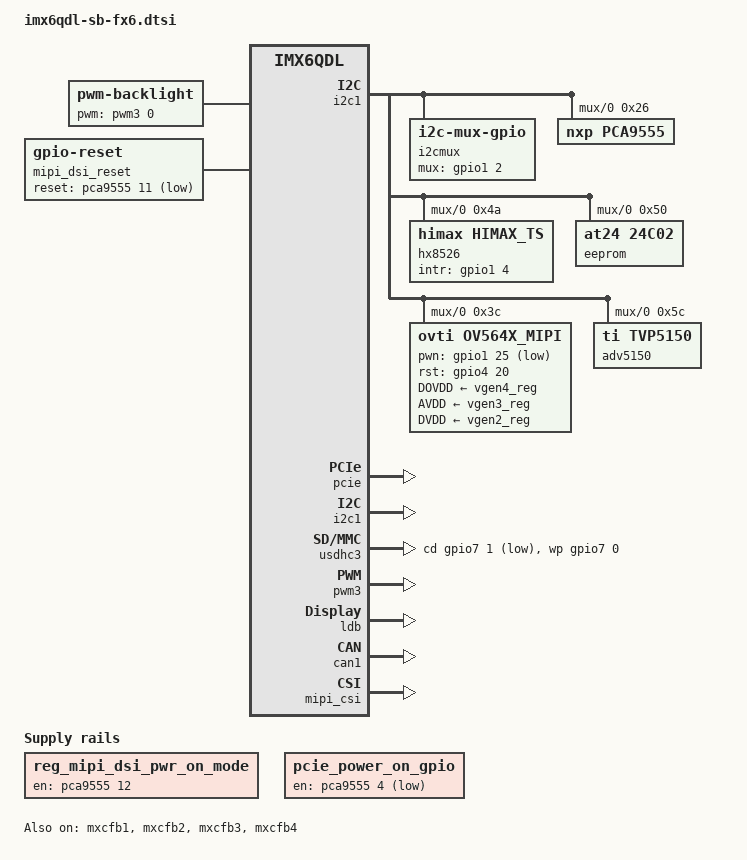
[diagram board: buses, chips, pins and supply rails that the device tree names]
/*
 * Copyright 2014 CompuLab Ltd.
 *
 * Author: Valentin Raevsky <valentin@compulab.co.il>
 *
 * The code contained herein is licensed under the GNU General Public
 * License. You may obtain a copy of the GNU General Public License
 * Version 2 or later at the following locations:
 *
 * http://www.opensource.org/licenses/gpl-license.html
 * http://www.gnu.org/copyleft/gpl.html
 */

#include <dt-bindings/gpio/gpio.h>
#include <dt-bindings/input/input.h>

/ {
	backlight {
		compatible = "pwm-backlight";
		pwms = <&pwm3 0 5000000>;
		brightness-levels = <0 4 8 16 32 64 128 255>;
		default-brightness-level = <7>;
	};

	i2cmux {
		compatible = "i2c-mux-gpio";
		#address-cells = <1>;
		#size-cells = <0>;
		mux-gpios = <&gpio1 2 0>;
		i2c-parent = <&i2c1>;

		i2c@0 {
			reg = <0>;
			#address-cells = <1>;
			#size-cells = <0>;

			pca9555:pca9555@26 {
			      compatible = "nxp,pca9555";
			      gpio-controller;
			      #gpio-cells = <2>;
			      reg = <0x26>;
			};

			hx8526@4a {
			      compatible = "himax,himax_ts";
			      reg = <0x4a>;
			      gpio_intr = <&gpio1 4 0>;
			};

			eeprom@50 {
				compatible = "at24,24c02";
				reg = <0x50>;
				pagesize = <16>;
			};

			ov564x_mipi: ov564x_mipi@3c {
				compatible = "ovti,ov564x_mipi";
				reg = <0x3c>;
				clocks = <&clks IMX6QDL_CLK_CKO>;
				clock-names = "csi_mclk";

				DOVDD-supply = <&vgen4_reg>;
				AVDD-supply = <&vgen3_reg>;
				DVDD-supply = <&vgen2_reg>;

				pwn-gpios = <&gpio1 25 1>;
				rst-gpios = <&gpio4 20 0>;

				csi_id = <0>;
				mclk = <24000000>;
				mclk_source = <0>;
			};

			adv5150: adv5150@5c {
				compatible = "ti,tvp5150";
				reg = <0x5c>;
				pinctrl-names = "default";
				pinctrl-0 = <&pinctrl_ipu1_3>;
				clocks = <&clks 201>;
				clock-names = "csi_mclk";
				csi_id = <0>;
				mclk = <27000000>;
				mclk_source = <0>;
			};
		};

		i2c@1 {
			reg = <1>;
			#address-cells = <1>;
			#size-cells = <0>;

			dvi_edid: edid@50 {
				compatible = "fsl,imx6-dvi-i2c";
				reg = <0x50>;
				status = "disabled";
			};
		};

	};

	reg_mipi_dsi_pwr_on_mode: mipi_dsi_pwr_on_mode {
		compatible = "regulator-fixed";
		regulator-name = "mipi_dsi_pwr_on_mode";
		gpio = <&pca9555 12 0>;
		enable-active-high;
	};

	mipi_dsi_reset: mipi-dsi-reset {
		compatible = "gpio-reset";
		reset-gpios = <&pca9555 11 GPIO_ACTIVE_LOW>;
		reset-delay-us = <100>;
		gpio-can-sleep;
		#reset-cells = <0>;
	};

	vgen2_reg: vgen2 {
		regulator-min-microvolt = <800000>;
		regulator-max-microvolt = <1550000>;
	};

	vgen3_reg: vgen3 {
		regulator-min-microvolt = <1800000>;
		regulator-max-microvolt = <3300000>;
	};

	vgen4_reg: vgen4 {
		regulator-min-microvolt = <1800000>;
		regulator-max-microvolt = <3300000>;
		regulator-always-on;
	};

	pcie_power_on_gpio: regulator-pcie-power-on-gpio {
		compatible = "regulator-fixed";
		regulator-name = "regulator-pcie-power-on-gpio";
		gpio = <&pca9555 4 GPIO_ACTIVE_LOW>;
		enable-active-low;
	};
};

&pcie {
	vdd-supply = <&pcie_power_on_gpio>;
	status = "okay";
};

&i2c1 {
	status = "okay";
};

&usdhc3 {
	wp-gpios = <&gpio7 0 GPIO_ACTIVE_HIGH>;
	cd-gpios = <&gpio7 1 GPIO_ACTIVE_LOW>;
	status = "okay";
};

&pwm3 {
	pinctrl-names = "default";
	pinctrl-0 = <&pinctrl_pwm3_1>;
	status = "okay";
};

&ldb {
	status = "okay";

	lvds0: lvds-channel@0 {
		crtc = "ipu2-di0";
		fsl,data-mapping = "spwg";
		fsl,data-width = <18>;
		primary;
		status = "okay";

		display-timings {
			native-mode = <&timing01>;

			timing01: timing0_640x240 {
				clock-frequency = <10517760>;
				hactive = <640>;
				vactive = <240>;
				hback-porch = <5>;
				hfront-porch = <24>;
				vback-porch = <5>;
				vfront-porch = <10>;
				hsync-len = <10>;
				vsync-len = <10>;
			};

			timing02: timing0_800x480 {
				clock-frequency = <33500000>;
				hactive = <800>;
				vactive = <480>;
				hback-porch = <89>;
				hfront-porch = <164>;
				vback-porch = <23>;
				vfront-porch = <10>;
				hsync-len = <10>;
				vsync-len = <10>;
			};

			timing00: timing0_1368x768 {
				clock-frequency = <85859000>;
				hactive = <1368>;
				vactive = <768>;
				hback-porch = <220>;
				hfront-porch = <72>;
				vback-porch = <23>;
				vfront-porch = <1>;
				hsync-len = <144>;
				vsync-len = <26>;
			};
		};
	};

	lvds1: lvds-channel@1 {
		crtc = "ipu2-di1";
		fsl,data-mapping = "spwg";
		fsl,data-width = <18>;
		status = "okay";

		display-timings {
			native-mode = <&timing12>;

			timing12: timing1_800x480 {
				clock-frequency = <33500000>;
				hactive = <800>;
				vactive = <480>;
				hback-porch = <89>;
				hfront-porch = <164>;
				vback-porch = <23>;
				vfront-porch = <10>;
				hsync-len = <10>;
				vsync-len = <10>;
			};

			timing10: timing1_1368x768 {
				clock-frequency = <85859000>;
				hactive = <1368>;
				vactive = <768>;
				hback-porch = <220>;
				hfront-porch = <72>;
				vback-porch = <23>;
				vfront-porch = <1>;
				hsync-len = <144>;
				vsync-len = <26>;
			};

			timing11: timing1_640x240 {
				clock-frequency = <10517760>;
				hactive = <640>;
				vactive = <240>;
				hback-porch = <5>;
				hfront-porch = <24>;
				vback-porch = <5>;
				vfront-porch = <10>;
				hsync-len = <10>;
				vsync-len = <10>;
			};
		};
	};
};

&mxcfb1 {
	mode_str ="KD050C-WVGA";
	status = "okay";
};

&mxcfb2 {
	status = "okay";
};

&mxcfb3 {
	status = "okay";
};

&mxcfb4 {
	status = "okay";
};

&can1 {
	pinctrl-names = "default";
	pinctrl-0 = <&pinctrl_flexcan1_1>;
	status = "okay";
};

&mipi_csi {
	status = "okay";
	ipu_id = <0>;
	csi_id = <0>;
	v_channel = <0>;
	lanes = <2>;
};
